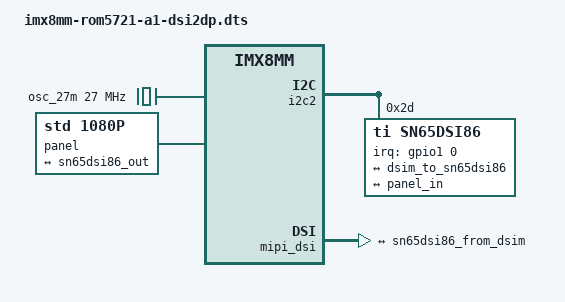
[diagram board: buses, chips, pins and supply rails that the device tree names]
/*
 * Copyright 2018 NXP
 *
 * This program is free software; you can redistribute it and/or
 * modify it under the terms of the GNU General Public License
 * as published by the Free Software Foundation; either version 2
 * of the License, or (at your option) any later version.
 *
 * This program is distributed in the hope that it will be useful,
 * but WITHOUT ANY WARRANTY; without even the implied warranty of
 * MERCHANTABILITY or FITNESS FOR A PARTICULAR PURPOSE.  See the
 * GNU General Public License for more details.
 */

#include "imx8mm-rom5721-a1.dts"

/ {
	osc_27m: clock-osc-27m {
		compatible = "fixed-clock";
		#clock-cells = <0>;
		clock-frequency = <27000000>;
		clock-output-names = "osc_27m";
	};

        panel: edp_panel {
                        compatible ="std,1080p", "simple-panel";
                        status = "okay";
                        #address-cells = <1>;
                        #size-cells = <0>;
                        port@0 {
                                reg = <0>;
                                panel_in: endpoint {
                                        remote-endpoint = <&sn65dsi86_out>;
                                };
                        };

                };
};
&i2c2 {
        sn65dsi86@2d {
                compatible = "ti,sn65dsi86";
                reg = <0x2d>;
                #address-cells = <1>;
                #size-cells = <0>;
                clock-names = "refclk";
                clocks = <&osc_27m>;
                pinctrl-names = "default";
                pinctrl-0 = <&pinctrl_dsi2dp_irq>;
                interrupt-parent = <&gpio1>;
                interrupts = <0 IRQ_TYPE_LEVEL_HIGH>;
                status = "okay";
                ports {
                        #address-cells = <1>;
                        #size-cells = <0>;

                        port@0 {
                                reg = <0>;
                                sn65dsi86_from_dsim: endpoint {
                                        remote-endpoint = <&dsim_to_sn65dsi86>;
                                };
                        };

                        port@1 {
                                reg = <1>;
                                sn65dsi86_out: endpoint {
                                        data-lanes = <2 1 3 0>;
                                        lane-polarities = <0 1 0 1>;
                                        remote-endpoint = <&panel_in>;
                                };
                        };
                };

        };
};

&mipi_dsi {
	/delete-node/panel@0;
        port@1 {
                dsim_to_sn65dsi86: endpoint {
                        remote-endpoint = <&sn65dsi86_from_dsim>;
                        attach-bridge;
                };
        };
	
};
